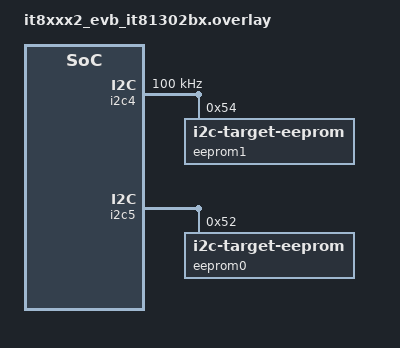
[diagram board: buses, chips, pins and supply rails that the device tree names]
/*
 * Copyright (c) 2023 ITE Corporation.
 *
 * SPDX-License-Identifier: Apache-2.0
 */

&i2c4 {
	status = "okay";
	clock-frequency = <I2C_BITRATE_STANDARD>;
	pinctrl-0 = <&i2c4_clk_gpe0_default
		     &i2c4_data_gpe7_default>;
	pinctrl-names = "default";

	eeprom1: eeprom@54 {
		compatible = "zephyr,i2c-target-eeprom";
		reg = <0x54>;
		size = <256>;
	};
};

&i2c5 {
	status = "okay";
	pinctrl-0 = <&i2c5_clk_gpa4_default
		     &i2c5_data_gpa5_default>;
	pinctrl-names = "default";

	target-enable;
	eeprom0: eeprom@52 {
		compatible = "zephyr,i2c-target-eeprom";
		reg = <0x52>;
		size = <256>;
	};
};
